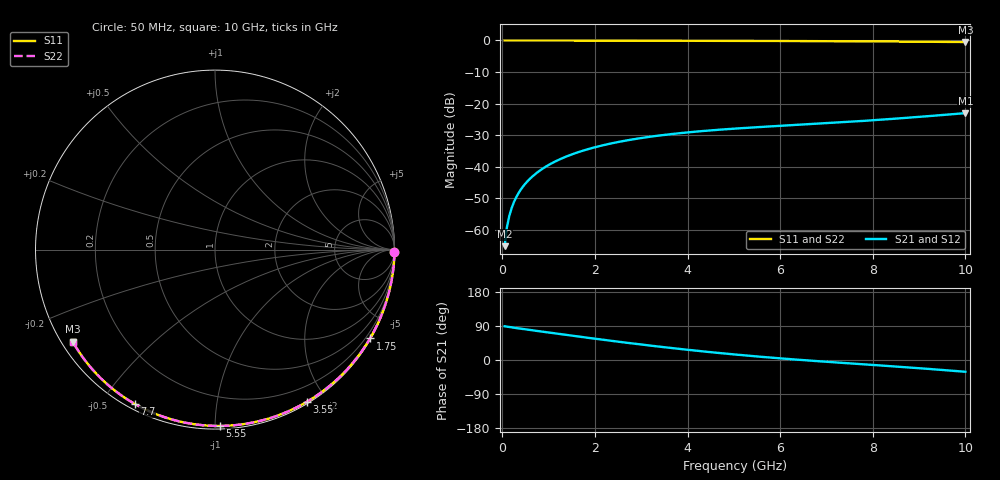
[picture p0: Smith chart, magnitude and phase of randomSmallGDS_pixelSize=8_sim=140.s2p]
! freq	dB(S11)	phase(S11)	dB(S12)	phase(S12)
!  dB(S21)	phase(S21)	dB(S22)	phase(S22)
!S-par simulation data
#  GHz  S  DB  R 50
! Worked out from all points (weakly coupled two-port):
!   200 points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, 50 MHz to 10 GHz, reference 50 ohm
!   highest |S21| = -23.06 dB at 10 GHz (marker M1); lowest = -65.3 dB at 50 MHz (marker M2)
!   lowest |S11| = -0.5 dB at 10 GHz (marker M3), VSWR 34.67, Z = 1.57 - j14.7 ohm
!   |S11| at or under -10 dB: nowhere
!   |S22| runs from -0.5 to 0.0 dB; largest |S21 - S12| = 0
!   S11 on the Smith chart (normalised r, x): 50 MHz: open; 1.75 GHz: 0.03, -3.76; 3.55 GHz: 0.02, -1.77; 5.55 GHz: 0.02, -1.03; 7.7 GHz: 0.02, -0.61; 10 GHz: 0.03, -0.29
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0.05  -0.00 -0.9  -65.26 89.0  -65.26 89.0  -0.00 -0.9
0.1  -0.00 -1.7  -59.25 88.0  -59.25 88.0  -0.00 -1.7
0.15  -0.00 -2.6  -55.74 87.1  -55.74 87.1  -0.00 -2.6
0.2  -0.00 -3.5  -53.25 86.1  -53.25 86.1  -0.00 -3.5
0.25  -0.00 -4.3  -51.33 85.2  -51.33 85.2  -0.00 -4.3
0.35  -0.00 -6.1  -48.44 83.5  -48.44 83.5  -0.00 -6.1
0.5  -0.01 -8.6  -45.39 80.9  -45.39 80.9  -0.01 -8.6
0.7  -0.01 -12.1  -42.52 77.6  -42.52 77.6  -0.01 -12.1
1  -0.02 -17.2  -39.51 72.6  -39.51 72.6  -0.02 -17.2
1.35  -0.03 -23.1  -37.02 66.8  -37.02 66.8  -0.03 -23.1
1.75  -0.04 -29.8  -34.93 60.2  -34.93 60.2  -0.04 -29.8
2.5  -0.06 -42.1  -32.22 48.4  -32.22 48.4  -0.06 -42.1
3.4  -0.08 -56.5  -30.14 35.1  -30.14 35.1  -0.08 -56.5
3.55  -0.08 -58.8  -29.87 33.0  -29.87 33.0  -0.08 -58.8
4.3  -0.10 -70.3  -28.77 23.1  -28.77 23.1  -0.10 -70.3
5.05  -0.13 -81.3  -27.94 14.2  -27.94 14.2  -0.13 -81.3
5.55  -0.15 -88.4  -27.47 8.8  -27.47 8.8  -0.15 -88.4
6.7  -0.21 -104.3  -26.51 -2.1  -26.51 -2.1  -0.21 -104.3
7.7  -0.27 -117.5  -25.61 -10.6  -25.61 -10.6  -0.27 -117.5
8.35  -0.33 -126.0  -24.96 -16.0  -24.96 -16.0  -0.33 -126.0
9.2  -0.41 -136.9  -24.01 -23.5  -24.01 -23.5  -0.41 -136.9
10  -0.50 -147.1  -23.06 -31.0  -23.06 -31.0  -0.50 -147.1
